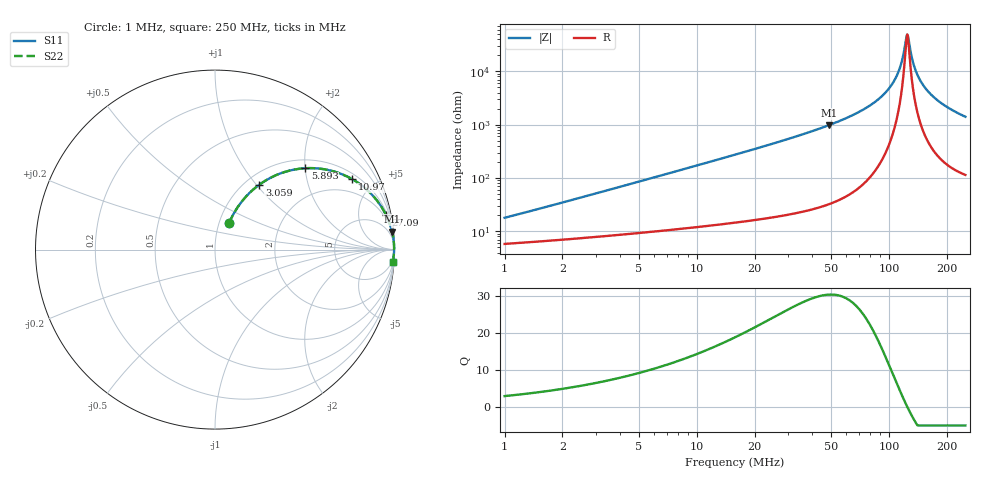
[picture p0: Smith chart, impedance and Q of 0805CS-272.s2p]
# MHz S MA R 50
!Freq  MagS11  AngS11  MagS21  AngS21  MagS12  AngS12  MagS22  AngS22
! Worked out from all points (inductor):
!   801 points, 1 MHz to 250 MHz, reference 50 ohm
!   read as one part in series: L = 2.7 uH near 1.035 MHz
!   highest Q = 30.3 at 48.7 MHz (marker M1), where L = 3.19 uH
!   self-resonance near 124.5 MHz
!   S11 on the Smith chart (normalised r, x): 1 MHz: 1.12, +0.34; 3.059 MHz: 1.16, +1.04; 5.893 MHz: 1.20, +2.00; 10.97 MHz: 1.25, +3.75; 27.09 MHz: 1.38, +9.65; 250 MHz: 3, -28
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1  0.1673 62.0  0.9333 -9.1  0.9333 -9.1  0.1673 62.0
2.521477  0.3756 58.4  0.8646 -21.7  0.8646 -21.7  0.3756 58.4
3.059024  0.4386 55.6  0.8351 -25.7  0.8351 -25.7  0.4386 55.6
5.893024  0.6772 42.0  0.6727 -42.4  0.6727 -42.4  0.6772 42.0
6.314115  0.7014 40.3  0.6503 -44.3  0.6503 -44.3  0.7014 40.3
10.96747  0.8595 27.2  0.4574 -59.1  0.4574 -59.1  0.8595 27.2
15.92089  0.9242 19.6  0.3361 -67.4  0.3361 -67.4  0.9242 19.6
27.08751  0.9716 11.6  0.2013 -76.1  0.2013 -76.1  0.9716 11.6
39.86805  0.9869 7.5  0.1309 -80.5  0.1309 -80.5  0.9869 7.5
48.70239  0.9915 5.8  0.1016 -82.3  0.1016 -82.3  0.9915 5.8
76.27512  0.9968 2.8  0.0482 -84.8  0.0482 -84.8  0.9968 2.8
99.83492  0.9979 1.2  0.02119 -83.8  0.02119 -83.8  0.9979 1.2
112.2635  0.998 0.6  0.01008 -78.5  0.01008 -78.5  0.998 0.6
117.0101  0.998 0.3  0.006288 -71.6  0.006288 -71.6  0.998 0.3
121.9573  0.998 0.1  0.002881 -45.8  0.002881 -45.8  0.998 0.1
124.5088  0.998 0.0  0.002038 -3.3  0.002038 -3.3  0.998 0.0
127.1137  0.9979 -0.1  0.002764 41.4  0.002764 41.4  0.9979 -0.1
132.4881  0.9978 -0.3  0.006128 69.1  0.006128 69.1  0.9978 -0.3
138.0898  0.9977 -0.6  0.009909 76.4  0.009909 76.4  0.9977 -0.6
154.2127  0.9972 -1.2  0.02034 81.6  0.02034 81.6  0.9972 -1.2
188.3847  0.9957 -2.3  0.04005 82.7  0.04005 82.7  0.9957 -2.3
250  0.9918 -4.0  0.07062 81.3  0.07062 81.3  0.9918 -4.0
